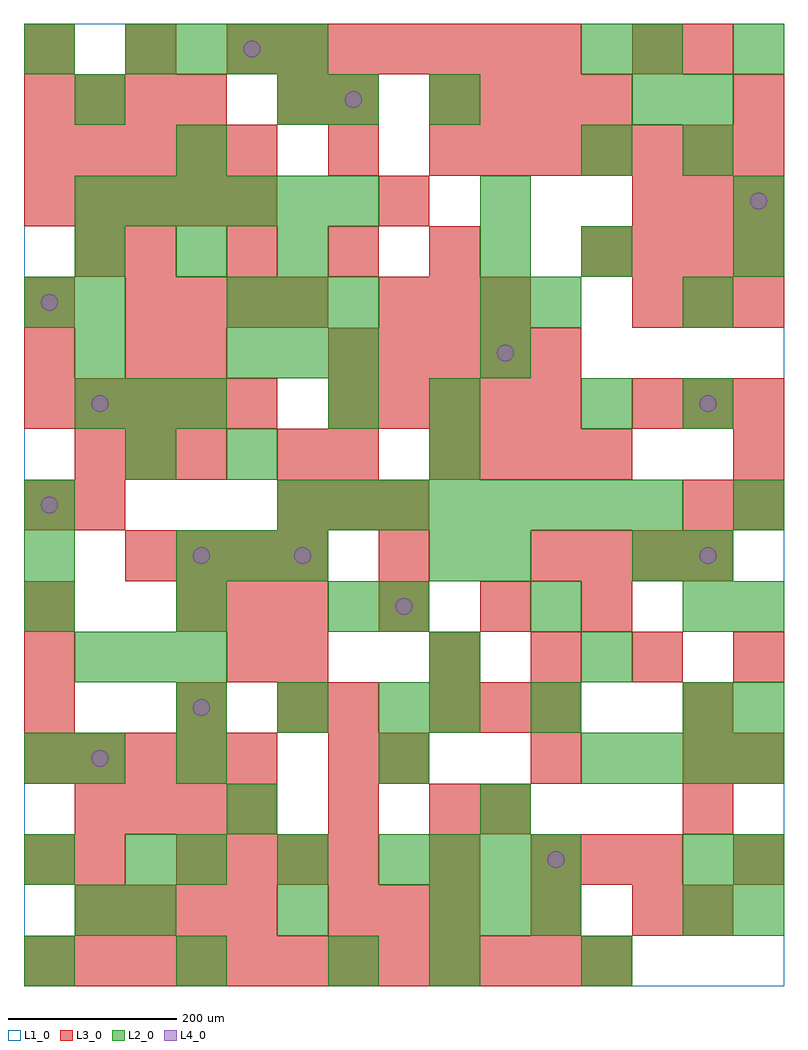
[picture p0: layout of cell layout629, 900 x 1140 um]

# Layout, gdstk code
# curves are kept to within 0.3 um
import gdstk
lib = gdstk.Library(unit=1e-6, precision=1e-09)
def R(c, l, rs):  # rectangles x0, y0, x1, y1
    for r in rs: c.add(gdstk.rectangle(r[:2], r[2:], *l))
def A(c, l, x, y, w, h, nx, ny, dx, dy):  # array of equal rectangles
    R(c, l, [(x+i*dx, y+j*dy, x+i*dx+w, y+j*dy+h) for i in range(nx) for j in range(ny)])
def P(c, l, *ps):  # polygons
    for p in ps: c.add(gdstk.Polygon(p, *l))
L1_0 = (1, 0)
L2_0 = (2, 0)
L3_0 = (3, 0)
L4_0 = (4, 0)

layout629 = lib.new_cell('layout629')
R(layout629, L1_0, [(0,0,900,1140)])
A(layout629, L2_0, 0, 0, 60, 60, 3, 2, 180, 420)
A(layout629, L2_0, 120, 60, 60, 60, 3, 1, 180, 0)
A(layout629, L2_0, 180, 120, 60, 60, 3, 2, 120, 180)
A(layout629, L2_0, 480, 120, 60, 60, 3, 1, 60, 0)
A(layout629, L2_0, 780, 120, 60, 60, 1, 4, 0, 180)
A(layout629, L2_0, 180, 240, 60, 60, 3, 1, 240, 0)
A(layout629, L2_0, 720, 240, 60, 60, 3, 1, 60, 0)
A(layout629, L2_0, 840, 300, 60, 60, 1, 3, 0, 120)
A(layout629, L2_0, 60, 360, 60, 60, 3, 2, 60, 300)
A(layout629, L2_0, 480, 360, 60, 60, 1, 3, 0, 120)
A(layout629, L2_0, 420, 420, 60, 60, 3, 1, 180, 0)
A(layout629, L2_0, 180, 480, 60, 60, 3, 1, 60, 0)
A(layout629, L2_0, 300, 540, 60, 60, 8, 1, 60, 0)
A(layout629, L2_0, 240, 720, 60, 60, 3, 2, 60, 60)
A(layout629, L2_0, 540, 720, 60, 60, 1, 4, 0, 60)
A(layout629, L2_0, 60, 840, 60, 60, 3, 1, 120, 0)
A(layout629, L2_0, 660, 840, 60, 60, 1, 3, 0, 120)
A(layout629, L2_0, 60, 900, 60, 60, 6, 1, 60, 0)
A(layout629, L2_0, 120, 1080, 60, 60, 4, 1, 60, 0)
R(layout629, L2_0, [(480,0,540,60), (660,0,720,60), (60,60,120,120), (540,60,600,120), (600,60,660,120), (780,60,840,120), (840,60,900,120), (0,120,60,180), (120,120,180,180), (840,120,900,180), (240,180,300,240), (540,180,600,240), (0,240,60,300), (60,240,120,300), (480,300,540,360), (600,300,660,360), (660,360,720,420), (0,480,60,540), (540,480,600,540), (720,480,780,540), (0,540,60,600), (120,600,180,660), (240,600,300,660), (360,660,420,720), (480,660,540,720), (660,660,720,720), (60,720,120,780), (0,780,60,840), (60,780,120,840), (600,780,660,840), (780,780,840,840), (840,840,900,900), (840,900,900,960), (180,960,240,1020), (780,960,840,1020), (60,1020,120,1080), (300,1020,360,1080), (360,1020,420,1080), (480,1020,540,1080), (720,1020,780,1080), (780,1020,840,1080), (0,1080,60,1140), (720,1080,780,1140), (840,1080,900,1140)])
A(layout629, L3_0, 0, 0, 60, 60, 12, 1, 60, 0)
A(layout629, L3_0, 60, 60, 60, 60, 4, 2, 60, 120)
A(layout629, L3_0, 360, 60, 60, 60, 3, 1, 60, 0)
A(layout629, L3_0, 780, 60, 60, 60, 1, 3, 0, 120)
A(layout629, L3_0, 180, 120, 60, 60, 4, 1, 60, 0)
A(layout629, L3_0, 600, 120, 60, 60, 3, 1, 60, 0)
A(layout629, L3_0, 360, 180, 60, 60, 1, 3, 0, 60)
A(layout629, L3_0, 0, 240, 60, 60, 5, 2, 60, 420)
A(layout629, L3_0, 420, 240, 60, 60, 3, 1, 180, 0)
A(layout629, L3_0, 0, 300, 60, 60, 1, 3, 0, 60)
A(layout629, L3_0, 480, 300, 60, 60, 3, 1, 60, 0)
A(layout629, L3_0, 480, 360, 60, 60, 4, 1, 120, 0)
A(layout629, L3_0, 180, 420, 60, 60, 3, 1, 60, 0)
A(layout629, L3_0, 420, 420, 60, 60, 3, 1, 120, 0)
A(layout629, L3_0, 120, 480, 60, 60, 4, 2, 60, 300)
A(layout629, L3_0, 600, 480, 60, 60, 4, 1, 60, 0)
A(layout629, L3_0, 300, 540, 60, 60, 3, 1, 60, 0)
A(layout629, L3_0, 60, 600, 60, 60, 3, 1, 60, 0)
A(layout629, L3_0, 480, 600, 60, 60, 4, 2, 60, 420)
A(layout629, L3_0, 360, 660, 60, 60, 5, 2, 60, 60)
A(layout629, L3_0, 720, 660, 60, 60, 3, 3, 60, 120)
A(layout629, L3_0, 420, 780, 60, 60, 3, 1, 60, 0)
A(layout629, L3_0, 120, 840, 60, 60, 4, 1, 120, 0)
A(layout629, L3_0, 660, 840, 60, 60, 4, 1, 60, 0)
A(layout629, L3_0, 0, 900, 60, 60, 5, 2, 60, 60)
A(layout629, L3_0, 480, 960, 60, 60, 7, 1, 60, 0)
A(layout629, L3_0, 0, 1020, 60, 60, 4, 1, 60, 0)
A(layout629, L3_0, 0, 1080, 60, 60, 3, 1, 120, 0)
A(layout629, L3_0, 300, 1080, 60, 60, 6, 1, 60, 0)
R(layout629, L3_0, [(600,60,660,120), (720,60,780,120), (0,120,60,180), (60,120,120,180), (480,120,540,180), (840,120,900,180), (480,180,540,240), (540,180,600,240), (840,240,900,300), (180,300,240,360), (300,300,360,360), (240,360,300,420), (300,360,360,420), (420,480,480,540), (0,540,60,600), (60,540,120,600), (780,540,840,600), (840,540,900,600), (300,600,360,660), (360,600,420,660), (840,600,900,660), (0,720,60,780), (120,720,180,780), (180,720,240,780), (0,780,60,840), (60,840,120,900), (420,900,480,960), (360,960,420,1020), (300,1020,360,1080), (360,1020,420,1080), (840,1020,900,1080), (720,1080,780,1140), (780,1080,840,1140)])
P(layout629, L4_0, [(40,570),(39.239,573.827),(37.071,577.071),(33.827,579.239),(30,580),(26.173,579.239),(22.929,577.071),(20.761,573.827),(20,570),(20.761,566.173),(22.929,562.929),(26.173,560.761),(30,560),(33.827,560.761),(37.071,562.929),(39.239,566.173)],
  [(40,810),(39.239,813.827),(37.071,817.071),(33.827,819.239),(30,820),(26.173,819.239),(22.929,817.071),(20.761,813.827),(20,810),(20.761,806.173),(22.929,802.929),(26.173,800.761),(30,800),(33.827,800.761),(37.071,802.929),(39.239,806.173)],
  [(100,270),(99.239,273.827),(97.071,277.071),(93.827,279.239),(90,280),(86.173,279.239),(82.929,277.071),(80.761,273.827),(80,270),(80.761,266.173),(82.929,262.929),(86.173,260.761),(90,260),(93.827,260.761),(97.071,262.929),(99.239,266.173)],
  [(100,690),(99.239,693.827),(97.071,697.071),(93.827,699.239),(90,700),(86.173,699.239),(82.929,697.071),(80.761,693.827),(80,690),(80.761,686.173),(82.929,682.929),(86.173,680.761),(90,680),(93.827,680.761),(97.071,682.929),(99.239,686.173)],
  [(220,330),(219.239,333.827),(217.071,337.071),(213.827,339.239),(210,340),(206.173,339.239),(202.929,337.071),(200.761,333.827),(200,330),(200.761,326.173),(202.929,322.929),(206.173,320.761),(210,320),(213.827,320.761),(217.071,322.929),(219.239,326.173)],
  [(220,510),(219.239,513.827),(217.071,517.071),(213.827,519.239),(210,520),(206.173,519.239),(202.929,517.071),(200.761,513.827),(200,510),(200.761,506.173),(202.929,502.929),(206.173,500.761),(210,500),(213.827,500.761),(217.071,502.929),(219.239,506.173)],
  [(280,1110),(279.239,1113.827),(277.071,1117.071),(273.827,1119.239),(270,1120),(266.173,1119.239),(262.929,1117.071),(260.761,1113.827),(260,1110),(260.761,1106.173),(262.929,1102.929),(266.173,1100.761),(270,1100),(273.827,1100.761),(277.071,1102.929),(279.239,1106.173)],
  [(340,510),(339.239,513.827),(337.071,517.071),(333.827,519.239),(330,520),(326.173,519.239),(322.929,517.071),(320.761,513.827),(320,510),(320.761,506.173),(322.929,502.929),(326.173,500.761),(330,500),(333.827,500.761),(337.071,502.929),(339.239,506.173)],
  [(400,1050),(399.239,1053.827),(397.071,1057.071),(393.827,1059.239),(390,1060),(386.173,1059.239),(382.929,1057.071),(380.761,1053.827),(380,1050),(380.761,1046.173),(382.929,1042.929),(386.173,1040.761),(390,1040),(393.827,1040.761),(397.071,1042.929),(399.239,1046.173)],
  [(460,450),(459.239,453.827),(457.071,457.071),(453.827,459.239),(450,460),(446.173,459.239),(442.929,457.071),(440.761,453.827),(440,450),(440.761,446.173),(442.929,442.929),(446.173,440.761),(450,440),(453.827,440.761),(457.071,442.929),(459.239,446.173)],
  [(580,750),(579.239,753.827),(577.071,757.071),(573.827,759.239),(570,760),(566.173,759.239),(562.929,757.071),(560.761,753.827),(560,750),(560.761,746.173),(562.929,742.929),(566.173,740.761),(570,740),(573.827,740.761),(577.071,742.929),(579.239,746.173)],
  [(640,150),(639.239,153.827),(637.071,157.071),(633.827,159.239),(630,160),(626.173,159.239),(622.929,157.071),(620.761,153.827),(620,150),(620.761,146.173),(622.929,142.929),(626.173,140.761),(630,140),(633.827,140.761),(637.071,142.929),(639.239,146.173)],
  [(820,510),(819.239,513.827),(817.071,517.071),(813.827,519.239),(810,520),(806.173,519.239),(802.929,517.071),(800.761,513.827),(800,510),(800.761,506.173),(802.929,502.929),(806.173,500.761),(810,500),(813.827,500.761),(817.071,502.929),(819.239,506.173)],
  [(820,690),(819.239,693.827),(817.071,697.071),(813.827,699.239),(810,700),(806.173,699.239),(802.929,697.071),(800.761,693.827),(800,690),(800.761,686.173),(802.929,682.929),(806.173,680.761),(810,680),(813.827,680.761),(817.071,682.929),(819.239,686.173)],
  [(880,930),(879.239,933.827),(877.071,937.071),(873.827,939.239),(870,940),(866.173,939.239),(862.929,937.071),(860.761,933.827),(860,930),(860.761,926.173),(862.929,922.929),(866.173,920.761),(870,920),(873.827,920.761),(877.071,922.929),(879.239,926.173)])

lib.write_gds('layout629.gds')
